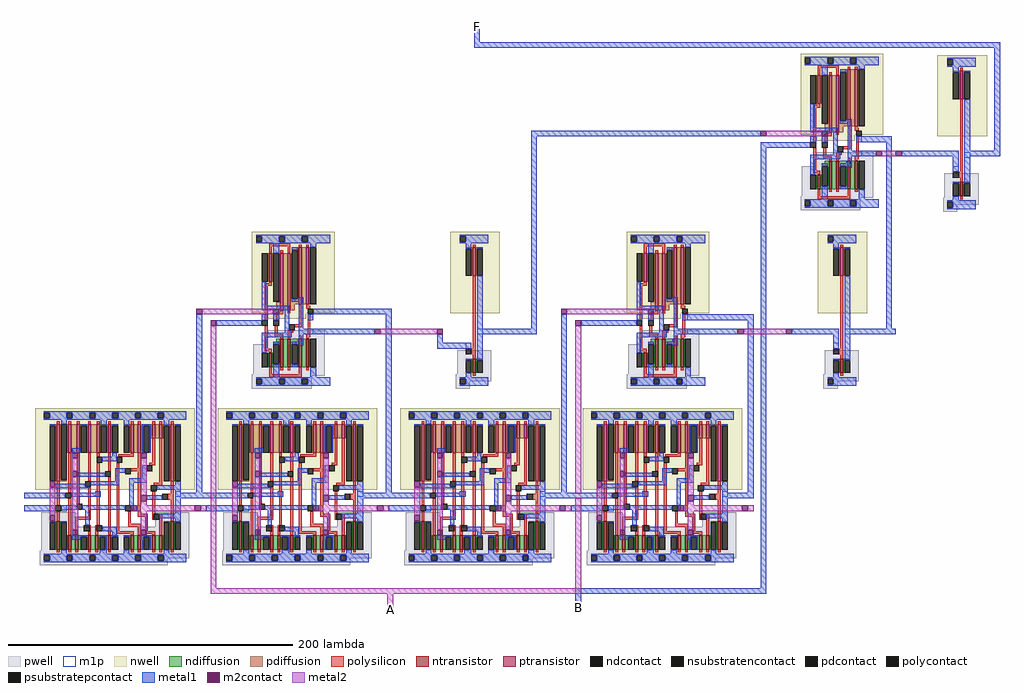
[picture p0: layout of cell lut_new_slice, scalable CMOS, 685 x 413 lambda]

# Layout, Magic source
magic
tech scmos
<< metal1 >>
rect 316 365 320 378
rect 316 361 685 365
rect 356 299 517 303
rect 203 174 258 178
rect 121 49 125 174
rect 135 166 167 170
rect 203 160 246 164
rect 254 49 258 174
rect 356 164 360 299
rect 588 295 609 299
rect 517 291 552 295
rect 322 160 360 164
rect 290 154 294 160
rect 290 150 310 154
rect 377 49 381 174
rect 466 170 512 174
rect 391 166 430 170
rect 466 160 501 164
rect 508 49 512 170
rect 517 -18 521 291
rect 588 285 598 289
rect 605 164 609 295
rect 681 289 685 361
rect 616 285 656 289
rect 664 285 685 289
rect 652 278 656 285
rect 539 160 572 164
rect 580 160 612 164
rect 568 154 572 160
rect 387 -22 521 -18
rect 387 -34 391 -22
<< m2contact >>
rect 517 299 521 303
rect 560 299 564 303
rect 121 174 125 178
rect 175 174 179 178
rect 131 166 135 170
rect 246 160 250 164
rect 290 160 294 164
rect 377 174 381 178
rect 438 174 442 178
rect 387 166 391 170
rect 501 160 505 164
rect 598 285 602 289
rect 612 285 616 289
rect 535 160 539 164
<< metal2 >>
rect 521 299 560 303
rect 602 285 612 289
rect 125 174 175 178
rect 381 174 438 178
rect 131 -18 135 166
rect 250 160 290 164
rect 387 48 391 166
rect 505 160 535 164
rect 387 -18 391 45
rect 131 -22 391 -18
rect 255 -35 259 -22
use MUX2X1  MUX2X1_2
transform 1 0 550 0 1 252
box -5 -3 53 105
use INVX1  INVX1_2
transform 1 0 650 0 1 251
box -9 -3 26 105
use MUX2X1  MUX2X1_0
transform 1 0 165 0 1 127
box -5 -3 53 105
use INVX1  INVX1_0
transform 1 0 308 0 1 127
box -9 -3 26 105
use MUX2X1  MUX2X1_1
transform 1 0 428 0 1 127
box -5 -3 53 105
use INVX1  INVX1_1
transform 1 0 566 0 1 127
box -9 -3 26 105
use shift_lut_slice  shift_lut_slice_0
array 0 3 128 0 0 108
transform 1 0 8 0 1 0
box -8 0 120 108
<< labels >>
rlabel metal1 387 -34 391 -30 0 B
rlabel metal2 255 -35 259 -31 0 A
rlabel metal1 316 374 320 378 0 F
<< end >>

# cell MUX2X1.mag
magic
tech scmos
<< nwell >>
rect -5 48 53 105
rect 6 44 33 48
<< pwell >>
rect 6 34 46 36
rect 4 26 46 34
rect -4 5 46 26
rect -5 4 46 5
rect -5 -5 37 4
<< ntransistor >>
rect 7 10 9 20
rect 15 10 17 30
rect 20 10 22 30
rect 28 10 30 30
rect 33 10 35 30
<< ptransistor >>
rect 7 70 9 90
rect 15 50 17 90
rect 20 50 22 90
rect 28 54 30 94
rect 33 54 35 94
<< ndiffusion >>
rect 12 28 15 30
rect 10 26 15 28
rect 6 10 7 20
rect 9 12 10 20
rect 14 12 15 26
rect 9 10 15 12
rect 17 10 20 30
rect 22 26 28 30
rect 22 12 23 26
rect 27 12 28 26
rect 22 10 28 12
rect 30 10 33 30
rect 35 10 36 30
<< pdiffusion >>
rect 23 92 28 94
rect 6 70 7 90
rect 9 70 10 90
rect 14 56 15 90
rect 12 50 15 56
rect 17 50 20 90
rect 22 58 23 90
rect 27 58 28 92
rect 22 54 28 58
rect 30 54 33 94
rect 35 54 36 94
rect 22 50 25 54
<< ndcontact >>
rect 2 10 6 20
rect 10 12 14 26
rect 23 12 27 26
rect 36 10 40 30
<< pdcontact >>
rect 2 70 6 90
rect 10 56 14 90
rect 23 58 27 92
rect 36 54 40 94
<< psubstratepcontact >>
rect -2 -2 2 2
rect 14 -2 18 2
rect 30 -2 34 2
<< nsubstratencontact >>
rect -2 98 2 102
rect 14 98 18 102
rect 30 98 34 102
<< polysilicon >>
rect 7 95 22 97
rect 7 90 9 95
rect 15 90 17 92
rect 20 90 22 95
rect 28 94 30 96
rect 33 94 35 96
rect 7 69 9 70
rect 4 67 9 69
rect 4 43 6 67
rect 15 49 17 50
rect 12 47 17 49
rect 20 48 22 50
rect 12 43 14 47
rect 28 40 30 54
rect 33 53 35 54
rect 33 51 36 53
rect 4 23 6 39
rect 11 33 13 39
rect 25 38 30 40
rect 20 34 24 36
rect 11 31 17 33
rect 15 30 17 31
rect 20 30 22 34
rect 34 33 36 47
rect 28 30 30 32
rect 33 31 36 33
rect 33 30 35 31
rect 4 21 9 23
rect 7 20 9 21
rect 7 5 9 10
rect 15 8 17 10
rect 20 8 22 10
rect 28 5 30 10
rect 33 8 35 10
rect 7 3 30 5
<< polycontact >>
rect 2 39 6 43
rect 10 39 14 43
rect 21 36 25 40
rect 34 47 38 51
<< metal1 >>
rect -2 102 50 103
rect 2 98 14 102
rect 18 98 30 102
rect 34 98 50 102
rect -2 97 50 98
rect 10 90 14 97
rect 36 94 40 97
rect 2 53 5 70
rect 23 92 27 94
rect 27 58 31 59
rect 23 56 31 58
rect 2 50 21 53
rect 2 43 6 47
rect 10 43 14 47
rect 18 36 21 50
rect 28 37 31 56
rect 34 43 38 47
rect 18 34 23 36
rect 2 31 23 34
rect 28 33 38 37
rect 2 20 5 31
rect 28 30 31 33
rect 27 28 31 30
rect 10 26 14 28
rect 10 3 14 12
rect 23 26 31 28
rect 27 25 31 26
rect 23 10 27 12
rect 36 3 40 10
rect -2 2 50 3
rect 2 -2 14 2
rect 18 -2 30 2
rect 34 -2 50 2
rect -2 -3 50 -2
<< m1p >>
rect 2 43 6 47
rect 10 43 14 47
rect 34 43 38 47
rect 34 33 38 37
<< labels >>
rlabel metal1 4 45 4 45 6 S
rlabel metal1 4 100 4 100 6 vdd
rlabel metal1 4 0 4 0 8 gnd
rlabel metal1 36 35 36 35 6 Y
rlabel metal1 36 45 36 45 6 A
rlabel metal1 12 45 12 45 6 B
<< end >>

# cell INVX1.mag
magic
tech scmos
<< nwell >>
rect -9 48 26 105
<< pwell >>
rect -4 5 20 22
rect -5 0 20 5
rect -5 -5 5 0
<< ntransistor >>
rect 7 6 9 16
<< ptransistor >>
rect 7 74 9 94
<< ndiffusion >>
rect 2 15 7 16
rect 6 6 7 15
rect 9 15 14 16
rect 9 6 10 15
<< pdiffusion >>
rect 2 93 7 94
rect 6 74 7 93
rect 9 93 14 94
rect 9 74 10 93
<< ndcontact >>
rect 2 6 6 15
rect 10 6 14 15
<< pdcontact >>
rect 2 74 6 93
rect 10 74 14 93
<< psubstratepcontact >>
rect -2 -2 2 2
<< nsubstratencontact >>
rect -2 98 2 102
<< polysilicon >>
rect 7 94 9 96
rect 7 23 9 74
rect 6 19 9 23
rect 7 16 9 19
rect 7 4 9 6
<< polycontact >>
rect 2 19 6 23
<< metal1 >>
rect -2 102 18 103
rect 2 98 18 102
rect -2 97 18 98
rect 2 93 6 97
rect 10 93 14 94
rect 2 23 6 27
rect 2 15 6 16
rect 10 15 14 74
rect 2 3 6 6
rect -2 2 18 3
rect 2 -2 18 2
rect -2 -3 18 -2
<< m1p >>
rect 10 33 14 37
rect 2 23 6 27
<< labels >>
rlabel metal1 4 25 4 25 6 A
rlabel metal1 12 35 12 35 6 Y
rlabel metal1 4 100 4 100 6 vdd
rlabel metal1 4 0 4 0 8 gnd
<< end >>

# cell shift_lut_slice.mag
magic
tech scmos
<< metal1 >>
rect -8 45 21 49
rect 102 45 120 49
rect -8 36 14 40
<< m2contact >>
rect 67 36 71 40
rect 112 36 116 40
<< metal2 >>
rect 71 36 112 40
rect 116 36 120 40
use DFFPOSX1  DFFPOSX1_0
transform 1 0 8 0 1 3
box -8 -3 104 105
<< labels >>
rlabel metal1 -8 45 -4 49 0 L_IN
rlabel metal1 -8 36 -4 40 0 LCLKI
rlabel metal1 116 45 120 49 0 L_OUT
rlabel metal2 116 36 120 40 0 LCLKO
<< end >>

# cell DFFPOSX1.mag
magic
tech scmos
<< nwell >>
rect -8 48 104 105
<< pwell >>
rect -4 22 20 32
rect 76 22 100 32
rect -4 5 100 22
rect -5 0 100 5
rect -5 -5 85 0
<< ntransistor >>
rect 7 6 9 26
rect 15 6 17 16
rect 20 6 22 16
rect 29 6 31 16
rect 34 6 36 16
rect 43 6 45 16
rect 59 6 61 16
rect 64 6 66 16
rect 74 6 76 16
rect 79 6 81 16
rect 87 6 89 26
<< ptransistor >>
rect 7 54 9 94
rect 15 74 17 94
rect 21 74 23 94
rect 29 74 31 94
rect 35 74 37 94
rect 43 74 45 94
rect 59 74 61 94
rect 64 74 66 94
rect 74 84 76 94
rect 79 84 81 94
rect 87 54 89 94
<< ndiffusion >>
rect 2 25 7 26
rect 6 6 7 25
rect 9 25 14 26
rect 9 6 10 25
rect 82 25 87 26
rect 14 6 15 16
rect 17 6 20 16
rect 22 15 29 16
rect 22 6 24 15
rect 28 6 29 15
rect 31 6 34 16
rect 36 15 43 16
rect 36 6 37 15
rect 41 6 43 15
rect 45 15 50 16
rect 45 6 46 15
rect 54 15 59 16
rect 58 6 59 15
rect 61 6 64 16
rect 66 15 74 16
rect 66 6 68 15
rect 72 6 74 15
rect 76 6 79 16
rect 81 6 82 16
rect 86 6 87 25
rect 89 25 94 26
rect 89 6 90 25
<< pdiffusion >>
rect 2 93 7 94
rect 6 54 7 93
rect 9 55 10 94
rect 14 74 15 94
rect 17 74 21 94
rect 23 93 29 94
rect 23 74 24 93
rect 28 74 29 93
rect 31 74 35 94
rect 37 93 43 94
rect 37 74 38 93
rect 42 74 43 93
rect 45 93 50 94
rect 45 74 46 93
rect 54 93 59 94
rect 58 74 59 93
rect 61 74 64 94
rect 66 93 74 94
rect 66 74 68 93
rect 72 84 74 93
rect 76 84 79 94
rect 81 93 87 94
rect 81 84 82 93
rect 72 74 73 84
rect 9 54 14 55
rect 86 54 87 93
rect 89 93 94 94
rect 89 54 90 93
<< ndcontact >>
rect 2 6 6 25
rect 10 6 14 25
rect 24 6 28 15
rect 37 6 41 15
rect 46 6 50 15
rect 54 6 58 15
rect 68 6 72 15
rect 82 6 86 25
rect 90 6 94 25
<< pdcontact >>
rect 2 54 6 93
rect 10 55 14 94
rect 24 74 28 93
rect 38 74 42 93
rect 46 74 50 93
rect 54 74 58 93
rect 68 74 72 93
rect 82 54 86 93
rect 90 54 94 93
<< psubstratepcontact >>
rect -2 -2 2 2
rect 14 -2 18 2
rect 30 -2 34 2
rect 46 -2 50 2
rect 62 -2 66 2
rect 78 -2 82 2
<< nsubstratencontact >>
rect -2 98 2 102
rect 14 98 18 102
rect 30 98 34 102
rect 46 98 50 102
rect 62 98 66 102
rect 78 98 82 102
<< polysilicon >>
rect 7 94 9 96
rect 15 94 17 96
rect 21 94 23 96
rect 29 94 31 96
rect 35 94 37 96
rect 43 94 45 96
rect 59 94 61 96
rect 64 94 66 96
rect 74 94 76 96
rect 79 94 81 96
rect 87 94 89 96
rect 7 37 9 54
rect 15 46 17 74
rect 7 26 9 33
rect 15 16 17 42
rect 21 38 23 74
rect 29 54 31 74
rect 29 29 31 50
rect 20 27 31 29
rect 35 71 37 74
rect 20 16 22 27
rect 35 23 37 67
rect 43 61 45 74
rect 59 73 61 74
rect 50 71 61 73
rect 30 19 31 23
rect 29 16 31 19
rect 34 19 35 23
rect 34 16 36 19
rect 43 16 45 57
rect 49 19 51 67
rect 64 63 66 74
rect 74 67 76 84
rect 72 65 76 67
rect 59 61 66 63
rect 57 24 59 33
rect 64 31 66 61
rect 79 53 81 84
rect 75 51 81 53
rect 74 31 76 47
rect 87 45 89 54
rect 85 41 89 45
rect 64 29 71 31
rect 57 22 66 24
rect 49 17 61 19
rect 59 16 61 17
rect 64 16 66 22
rect 69 19 71 29
rect 74 27 75 31
rect 69 17 76 19
rect 74 16 76 17
rect 79 16 81 31
rect 87 26 89 41
rect 7 4 9 6
rect 15 4 17 6
rect 20 4 22 6
rect 29 4 31 6
rect 34 4 36 6
rect 43 4 45 6
rect 59 4 61 6
rect 64 4 66 6
rect 74 4 76 6
rect 79 4 81 6
rect 87 4 89 6
<< polycontact >>
rect 13 42 17 46
rect 6 33 10 37
rect 27 50 31 54
rect 21 34 25 38
rect 35 67 39 71
rect 41 57 45 61
rect 26 19 30 23
rect 35 19 39 23
rect 49 67 53 71
rect 55 59 59 63
rect 70 61 74 65
rect 55 33 59 37
rect 73 47 77 51
rect 81 41 85 45
rect 75 27 79 31
<< metal1 >>
rect -2 102 98 103
rect 2 98 14 102
rect 18 98 30 102
rect 34 98 46 102
rect 50 98 62 102
rect 66 98 78 102
rect 82 98 98 102
rect -2 97 98 98
rect 10 94 14 97
rect 2 93 6 94
rect 24 93 28 94
rect 18 74 24 77
rect 38 93 42 97
rect 46 93 50 94
rect 54 93 58 97
rect 67 93 73 94
rect 67 74 68 93
rect 72 74 73 93
rect 82 93 86 97
rect 46 71 49 74
rect 39 68 49 71
rect 22 57 41 60
rect 48 60 55 63
rect 48 54 51 60
rect 67 56 70 65
rect 6 50 27 52
rect 31 51 51 54
rect 58 53 70 56
rect 90 93 94 94
rect 2 49 30 50
rect 34 46 38 47
rect 17 43 38 46
rect 10 34 21 37
rect 58 37 61 53
rect 90 51 94 54
rect 77 48 94 51
rect 70 41 81 44
rect 25 34 55 37
rect 2 25 6 26
rect 10 25 14 26
rect 27 23 30 34
rect 59 34 61 37
rect 90 31 94 48
rect 79 28 94 31
rect 90 25 94 28
rect 39 19 49 22
rect 46 16 49 19
rect 18 15 28 16
rect 18 13 24 15
rect 37 15 42 16
rect 41 6 42 15
rect 46 15 50 16
rect 54 15 58 16
rect 66 15 73 16
rect 66 13 68 15
rect 67 6 68 13
rect 72 6 73 15
rect 10 3 14 6
rect 37 3 42 6
rect 54 3 58 6
rect 82 3 86 6
rect -2 2 98 3
rect 2 -2 14 2
rect 18 -2 30 2
rect 34 -2 46 2
rect 50 -2 62 2
rect 66 -2 78 2
rect 82 -2 98 2
rect -2 -3 98 -2
<< m2contact >>
rect 18 70 22 74
rect 66 70 70 74
rect 18 57 22 61
rect 2 50 6 54
rect 66 40 70 44
rect 2 26 6 30
rect 18 16 22 20
rect 66 16 70 20
<< metal2 >>
rect 18 61 22 70
rect 2 30 6 50
rect 18 20 22 57
rect 66 44 70 70
rect 66 20 70 40
<< m1p >>
rect 34 43 38 47
rect 90 43 94 47
rect 10 33 14 37
<< labels >>
rlabel metal1 4 100 4 100 6 vdd
rlabel m1p 36 45 36 45 6 D
rlabel metal1 4 0 4 0 8 gnd
rlabel m1p 92 45 92 45 6 Q
rlabel m1p 12 35 12 35 6 CLK
<< end >>
